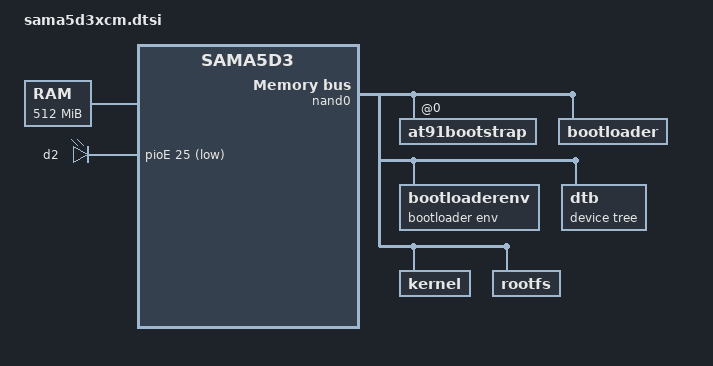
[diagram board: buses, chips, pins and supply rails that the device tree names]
/*
 * sama5d3xcm.dtsi - Device Tree Include file for SAMA5D3x CPU Module
 *
 *  Copyright (C) 2013 Atmel,
 *                2013 Ludovic Desroches <ludovic.desroches@atmel.com>
 *
 * Licensed under GPLv2 or later.
 */
#include "sama5d3.dtsi"

/ {
	compatible = "atmel,samad3xcm", "atmel,sama5d3", "atmel,sama5";

	chosen {
		bootargs = "console=ttyS0,115200 rootfstype=ubifs ubi.mtd=5 root=ubi0:rootfs";
	};

	memory {
		reg = <0x20000000 0x20000000>;
	};

	clocks {
		#address-cells = <1>;
		#size-cells = <1>;
		ranges;

		main_clock: clock@0 {
			compatible = "atmel,osc", "fixed-clock";
			clock-frequency = <12000000>;
		};
	};

	ahb {
		apb {
			spi0: spi@f0004000 {
				cs-gpios = <&pioD 13 0>, <0>, <0>, <0>;
			};

			macb0: ethernet@f0028000 {
				phy-mode = "rgmii";
			};

			i2c1: i2c@f0018000 {
				pmic: act8865@5b {
					compatible = "active-semi,act8865";
					reg = <0x5b>;
					status = "disabled";

					regulators {
						vcc_1v8_reg: DCDC_REG1 {
							regulator-name = "DCDC_REG1";
							regulator-min-microvolt = <1800000>;
							regulator-max-microvolt = <1800000>;
							regulator-suspend-mem-microvolt = <1800000>;
							regulator-suspend-standby-microvolt = <1800000>;
							regulator-always-on;
							valid_modes_mask = <0x06>;		/* REGULATOR_MODE_NORMAL(0x02) | REGULATOR_MODE_IDLE(0x04) */
							regulator-initial-mode = <0x04>;	/* REGULATOR_MODE_NORMAL = 0x02
												 * REGULATOR_MODE_IDLE = 0x04 */
							regulator-suspend-mem-mode = <0x04>;
							regulator-suspend-standy-mode = <0x04>;
						};

						vcc_1v2_reg: DCDC_REG2 {
							regulator-name = "DCDC_REG2";
							regulator-min-microvolt = <1100000>;
							regulator-max-microvolt = <1300000>;
							regulator-suspend-mem-microvolt = <1150000>;
							regulator-suspend-standby-microvolt = <1150000>;
							regulator-always-on;
							valid_modes_mask = <0x06>;		/* REGULATOR_MODE_NORMAL(0x02) | REGULATOR_MODE_IDLE(0x04) */
							regulator-initial-mode = <0x04>;	/* REGULATOR_MODE_NORMAL = 0x02
												 * REGULATOR_MODE_IDLE = 0x04 */
							regulator-suspend-mem-mode = <0x04>;
							regulator-suspend-standy-mode = <0x04>;
						};

						vcc_3v3_reg: DCDC_REG3 {
							regulator-name = "DCDC_REG3";
							regulator-min-microvolt = <3300000>;
							regulator-max-microvolt = <3300000>;
							regulator-suspend-mem-microvolt = <3300000>;
							regulator-suspend-standby-microvolt = <3300000>;
							regulator-always-on;
							valid_modes_mask = <0x06>;		/* REGULATOR_MODE_NORMAL(0x02) | REGULATOR_MODE_IDLE(0x04) */
							regulator-initial-mode = <0x04>;	/* REGULATOR_MODE_NORMAL = 0x02
												 * REGULATOR_MODE_IDLE = 0x04 */
							regulator-suspend-mem-mode = <0x04>;
							regulator-suspend-standy-mode = <0x04>;
						};

						vddfuse_reg: LDO_REG4 {
							regulator-name = "LDO_REG4";
							regulator-min-microvolt = <3300000>;
							regulator-max-microvolt = <3300000>;
							regulator-always-on;
						};

						vddana_reg: LDO_REG5 {
							regulator-name = "LDO_REG5";
							regulator-min-microvolt = <2500000>;
							regulator-max-microvolt = <2500000>;
						};
					};
				};
			};
		};

		nand0: nand@60000000 {
			nand-bus-width = <8>;
			nand-ecc-mode = "hw";
			atmel,has-pmecc;
			atmel,pmecc-cap = <4>;
			atmel,pmecc-sector-size = <512>;
			nand-on-flash-bbt;
			status = "okay";

			at91bootstrap@0 {
				label = "at91bootstrap";
				reg = <0x0 0x40000>;
			};

			bootloader@40000 {
				label = "bootloader";
				reg = <0x40000 0x80000>;
			};

			bootloaderenv@c0000 {
				label = "bootloader env";
				reg = <0xc0000 0xc0000>;
			};

			dtb@180000 {
				label = "device tree";
				reg = <0x180000 0x80000>;
			};

			kernel@200000 {
				label = "kernel";
				reg = <0x200000 0x600000>;
			};

			rootfs@800000 {
				label = "rootfs";
				reg = <0x800000 0x0f800000>;
			};
		};
	};

	leds {
		compatible = "gpio-leds";

		d2 {
			label = "d2";
			gpios = <&pioE 25 GPIO_ACTIVE_LOW>;	/* PE25, conflicts with A25, RXD2 */
			linux,default-trigger = "heartbeat";
		};
	};

	cpus {
		cpu@0 {
			vddcore-supply = <&vcc_1v2_reg>;
		};
	};
};
